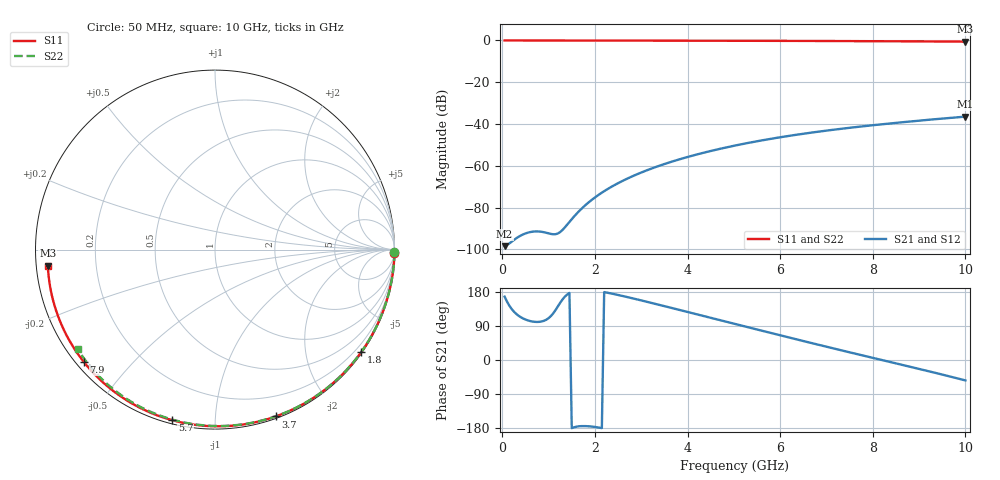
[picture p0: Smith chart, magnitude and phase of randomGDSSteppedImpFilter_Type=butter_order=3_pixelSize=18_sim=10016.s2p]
! freq	dB(S11)	phase(S11)	dB(S12)	phase(S12)
!  dB(S21)	phase(S21)	dB(S22)	phase(S22)
!S-par simulation data
#  GHz  S  DB  R 50
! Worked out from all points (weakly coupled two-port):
!   200 points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, 50 MHz to 10 GHz, reference 50 ohm
!   highest |S21| = -36.49 dB at 10 GHz (marker M1); lowest = -98.5 dB at 50 MHz (marker M2)
!   lowest |S11| = -0.6 dB at 10 GHz (marker M3), VSWR 30.08, Z = 1.67 - j2.42 ohm
!   |S11| at or under -10 dB: nowhere
!   |S22| runs from -0.5 to 0.0 dB; largest |S21 - S12| = 0
!   S11 on the Smith chart (normalised r, x): 50 MHz: open; 1.8 GHz: 0.03, -3.16; 3.7 GHz: 0.02, -1.43; 5.7 GHz: 0.02, -0.78; 7.9 GHz: 0.02, -0.37; 10 GHz: 0.03, -0.05
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0.05  -0.00 -1.0  -98.52 167.2  -98.52 167.2  -0.00 -0.8
0.45  -0.01 -8.9  -92.88 109.6  -92.88 109.6  -0.00 -7.5
0.85  -0.02 -16.8  -91.64 101.7  -91.64 101.7  -0.01 -14.2
1.25  -0.03 -24.5  -91.76 151.0  -91.76 151.0  -0.02 -20.7
1.7  -0.04 -33.2  -80.82 -174.5  -80.82 -174.5  -0.04 -28.1
1.75  -0.04 -34.1  -79.77 -174.3  -79.77 -174.3  -0.04 -28.9
1.8  -0.04 -35.1  -78.77 -174.4  -78.77 -174.4  -0.04 -29.7
2.1  -0.05 -40.8  -73.63 -178.6  -73.63 -178.6  -0.04 -34.5
2.45  -0.06 -47.3  -68.94 173.0  -68.94 173.0  -0.05 -40.1
2.9  -0.07 -55.6  -64.17 160.3  -64.17 160.3  -0.06 -47.1
3.4  -0.09 -64.7  -59.93 145.2  -59.93 145.2  -0.07 -54.8
3.7  -0.09 -70.0  -57.77 136.0  -57.77 136.0  -0.08 -59.4
4.35  -0.12 -81.4  -53.75 116.0  -53.75 116.0  -0.10 -69.1
5.05  -0.14 -93.2  -50.22 94.4  -50.22 94.4  -0.12 -79.2
5.7  -0.18 -104.0  -47.48 74.4  -47.48 74.4  -0.15 -88.3
6.2  -0.20 -112.1  -45.67 59.1  -45.67 59.1  -0.17 -95.1
6.7  -0.24 -120.2  -44.05 44.0  -44.05 44.0  -0.20 -101.9
7.3  -0.28 -129.8  -42.35 26.1  -42.35 26.1  -0.23 -109.8
7.9  -0.33 -139.4  -40.84 8.5  -40.84 8.5  -0.28 -117.5
8.35  -0.38 -146.7  -39.80 -4.5  -39.80 -4.5  -0.32 -123.3
9.2  -0.47 -160.7  -38.00 -29.4  -38.00 -29.4  -0.40 -134.1
10  -0.58 -174.5  -36.49 -53.9  -36.49 -53.9  -0.49 -144.2
